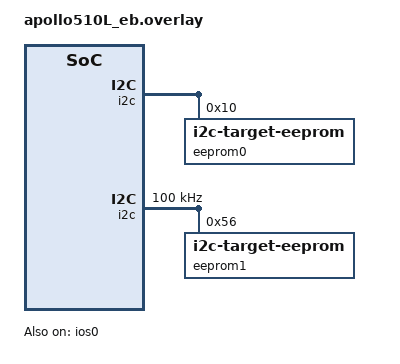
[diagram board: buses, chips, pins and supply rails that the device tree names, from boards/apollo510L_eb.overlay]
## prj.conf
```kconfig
CONFIG_LOG=y
CONFIG_I2C_LOG_LEVEL_DBG=y
CONFIG_LOG_DEFAULT_LEVEL=4
CONFIG_LOG_BACKEND_UART=y
CONFIG_NO_OPTIMIZATIONS=y
CONFIG_BOOT_BANNER=y
CONFIG_ZTEST=y
CONFIG_I2C=y
CONFIG_I2C_TARGET=y
CONFIG_I2C_EEPROM_TARGET=y
CONFIG_I2C_VIRTUAL=y
CONFIG_MAIN_STACK_SIZE=4096
CONFIG_SYSTEM_WORKQUEUE_STACK_SIZE=4096
CONFIG_ISR_STACK_SIZE=4096
```

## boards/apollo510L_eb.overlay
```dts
/* SPDX-License-Identifier: Apache-2.0 */
/* Copyright (c) 2025 Ambiq Micro Inc. */

/*
 * Apollo510L EB overlay for tests/drivers/i2c/i2c_target_api
 *
 * - IOS acts as I2C target (SCL=P0, SDA=P1)
 * - IOM5 acts as I2C master (SCL=P22, SDA=P23)
 * - Physically short SCL and SDA pairs with pull-ups.
 */

&ios0 {
	status = "okay";

	i2c {
		compatible = "ambiq,ios-i2c";
		#address-cells = <1>;
		#size-cells = <0>;
		pinctrl-0 = <&ios_i2c0_default>;
		pinctrl-1 = <&ios_i2c0_sleep>;
		pinctrl-names = "default", "sleep";
		fifo-base = <0x8>;
		fifo-threshold = <0x20>;
		status = "okay";

		eeprom0: eeprom@10 {
			compatible = "zephyr,i2c-target-eeprom";
			reg = <0x10>;
			size = <64>;
			address-width = <8>;
			status = "okay";
		};
	};

	/* Ensure SPI device on IOS is disabled when using I2C target */
	spi {
		status = "disabled";
	};
};

/* Try IOM1 as the peer I2C controller */
&iom1 {
	/* Disable SPI when using I2C */
	spi {
		status = "disabled";
	};

	i2c {
		compatible = "ambiq,i2c";
		#address-cells = <1>;
		#size-cells = <0>;
		pinctrl-0 = <&i2c1_default>;
		pinctrl-1 = <&i2c1_sleep>;
		pinctrl-names = "default", "sleep";
		clock-frequency = <I2C_BITRATE_STANDARD>;
		status = "okay";

		/* Second target for the test suite expectations */
		eeprom1: eeprom@56 {
			compatible = "zephyr,i2c-target-eeprom";
			reg = <0x56>;
			size = <64>;
			address-width = <8>;
			status = "okay";
		};
	};
};
```

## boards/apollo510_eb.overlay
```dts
/* SPDX-License-Identifier: Apache-2.0 */

/*
 * Apollo510 EB overlay for tests/drivers/i2c/i2c_target_api
 *
 * - IOS acts as I2C target (SCL=P11, SDA=P52)
 * - IOM5 acts as I2C master (SCL=P47, SDA=P48)
 * - Physically short SCL and SDA pairs with pull-ups.
 */

&ios0 {
	status = "okay";

	i2c {
		compatible = "ambiq,ios-i2c";
		#address-cells = <1>;
		#size-cells = <0>;
		pinctrl-0 = <&ios_i2c0_default>;
		pinctrl-1 = <&ios_i2c0_sleep>;
		pinctrl-names = "default", "sleep";
		fifo-threshold = <16>;
		status = "okay";

		eeprom0: eeprom@10 {
			compatible = "zephyr,i2c-target-eeprom";
			reg = <0x10>;
			size = <256>;
			address-width = <8>;
			status = "okay";
		};
	};

	/* Ensure SPI device on IOS is disabled when using I2C target */
	spi {
		status = "disabled";
	};
};

/* Use IOM5 as the peer I2C controller to access the target device */
&iom5 {
	i2c {
		compatible = "ambiq,i2c";
		#address-cells = <1>;
		#size-cells = <0>;
		pinctrl-0 = <&i2c5_default>;
		pinctrl-1 = <&i2c5_sleep>;
		pinctrl-names = "default", "sleep";
		clock-frequency = <I2C_BITRATE_STANDARD>;
		status = "okay";

		/* Second target for the test suite expectations */
		eeprom1: eeprom@56 {
			compatible = "zephyr,i2c-target-eeprom";
			reg = <0x56>;
			size = <256>;
			address-width = <8>;
			status = "okay";
		};
	};
};
```

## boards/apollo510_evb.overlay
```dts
/* SPDX-License-Identifier: Apache-2.0 */

/*
 * Apollo510 EVB overlay for tests/drivers/i2c/i2c_target_api
 *
 * - IOS acts as I2C target (SCL=P11, SDA=P52)
 * - IOM5 acts as I2C master (SCL=P47, SDA=P48)
 * - Physically short SCL and SDA pairs with pull-ups.
 */

&ios0 {
	status = "okay";

	i2c {
		compatible = "ambiq,ios-i2c";
		#address-cells = <1>;
		#size-cells = <0>;
		pinctrl-0 = <&ios_i2c0_default>;
		pinctrl-1 = <&ios_i2c0_sleep>;
		pinctrl-names = "default", "sleep";
		fifo-threshold = <16>;
		status = "okay";

		eeprom0: eeprom@54 {
			compatible = "zephyr,i2c-target-eeprom";
			reg = <0x54>;
			size = <256>;
			address-width = <8>;
			status = "okay";
		};
	};

	/* Ensure SPI device on IOS is disabled when using I2C target */
	spi {
		status = "disabled";
	};
};

/* Use IOM5 as the peer I2C controller to access the target device */
&iom5 {
	i2c {
		compatible = "ambiq,i2c";
		#address-cells = <1>;
		#size-cells = <0>;
		pinctrl-0 = <&i2c5_default>;
		pinctrl-1 = <&i2c5_sleep>;
		pinctrl-names = "default", "sleep";
		clock-frequency = <I2C_BITRATE_STANDARD>;
		status = "okay";

		/* Second target for the test suite expectations */
		eeprom1: eeprom@56 {
			compatible = "zephyr,i2c-target-eeprom";
			reg = <0x56>;
			size = <256>;
			address-width = <8>;
			status = "okay";
		};
	};
};
```

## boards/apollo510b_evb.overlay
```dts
/* SPDX-License-Identifier: Apache-2.0 */
/* Copyright (c) 2025 Ambiq Micro Inc. */

/*
 * Apollo510b EVB overlay for tests/drivers/i2c/i2c_target_api
 *
 * - IOS acts as I2C target (SCL=P0, SDA=P1)
 * - IOM0 acts as I2C master (SCL=P47, SDA=P48)
 * - Physically short SCL and SDA pairs with pull-ups.
 */

&ios0 {
	status = "okay";

	i2c {
		compatible = "ambiq,ios-i2c";
		#address-cells = <1>;
		#size-cells = <0>;
		pinctrl-0 = <&ios_i2c0_default>;
		pinctrl-1 = <&ios_i2c0_sleep>;
		pinctrl-names = "default", "sleep";
		fifo-threshold = <16>;
		status = "okay";

		eeprom0: eeprom@10 {
			compatible = "zephyr,i2c-target-eeprom";
			reg = <0x10>;
			size = <256>;
			address-width = <8>;
			status = "okay";
		};
	};

	/* Ensure SPI device on IOS is disabled when using I2C target */
	spi {
		status = "disabled";
	};
};

/* Use IOM0 as the peer I2C controller to access the target device */
&iom0 {
	i2c {
		compatible = "ambiq,i2c";
		#address-cells = <1>;
		#size-cells = <0>;
		pinctrl-0 = <&i2c0_default>;
		pinctrl-1 = <&i2c0_sleep>;
		pinctrl-names = "default", "sleep";
		clock-frequency = <I2C_BITRATE_STANDARD>;
		status = "okay";

		/* Second target for the test suite expectations */
		eeprom1: eeprom@56 {
			compatible = "zephyr,i2c-target-eeprom";
			reg = <0x56>;
			size = <256>;
			address-width = <8>;
			status = "okay";
		};
	};
};
```

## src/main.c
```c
/*
 * Copyright (c) 2017 BayLibre, SAS
 * Copyright (c) 2020 Nordic Semiconductor ASA
 *
 * SPDX-License-Identifier: Apache-2.0
 */

#include <errno.h>
#include <string.h>

#include <zephyr/kernel.h>
#include <zephyr/device.h>
#include <stdio.h>
#include <zephyr/sys/byteorder.h>
#include <zephyr/sys/util.h>

#include <zephyr/drivers/i2c.h>
#include <zephyr/drivers/i2c/target/eeprom.h>
#include <zephyr/drivers/gpio.h>

#include <zephyr/ztest.h>

#if IS_ENABLED(CONFIG_I2C_AMBIQ_IOS)
/* Test helper provided by i2c_ambiq_ios driver to peek raw LRAM */
extern int i2c_ambiq_ios_test_read_lram(const struct device *dev, uint32_t offset, uint8_t *val);
#endif

#define NODE_EP0 DT_NODELABEL(eeprom0)
#define NODE_EP1 DT_NODELABEL(eeprom1)

#define TEST_DATA_SIZE	MIN(CONFIG_I2C_TEST_DATA_MAX_SIZE, \
			    MIN(DT_PROP(NODE_EP0, size), DT_PROP(NODE_EP1, size)))

static uint8_t eeprom_0_data[TEST_DATA_SIZE];
static uint8_t eeprom_1_data[TEST_DATA_SIZE];
static uint8_t i2c_buffer[TEST_DATA_SIZE];

/*
 * We need 5x(buffer size) + 1 to print a comma-separated list of each
 * byte in hex, plus a null.
 */
uint8_t buffer_print_eeprom[TEST_DATA_SIZE * 5 + 1];
uint8_t buffer_print_i2c[TEST_DATA_SIZE * 5 + 1];

static void init_eeprom_test_data(void)
{
	size_t n;

	/*
	 * Initialize EEPROM data with printable ASCII value (range [32 126]).
	 * Make sure content differs between eeprom_0_data[] and eeprom_1_data[].
	 */
	for (n = 0; n < sizeof(eeprom_0_data); n++) {
		eeprom_0_data[n] = 32 + (n % (126 - 32));
	}

	for (n = 0; n < sizeof(eeprom_1_data); n++) {
		eeprom_1_data[n] = 32 + (((n + 10) * 3) % (126 - 32));
	}
}

static void to_display_format(const uint8_t *src, size_t size, char *dst)
{
	size_t i;

	for (i = 0; i < size; i++) {
		sprintf(dst + 5 * i, "0x%02x,", src[i]);
	}
}

#if IS_ENABLED(CONFIG_I2C_AMBIQ_IOS)
static int ambiq_ios_send_general_call(const struct device *i2c, uint8_t offset)
{
	uint8_t payload = offset;

	return i2c_write(i2c, &payload, sizeof(payload), 0x00);
}

static int ios_fifo_read(const struct device *i2c, uint8_t addr, const uint8_t *offset_buf,
			 size_t offset_len, uint8_t *rx_buf, size_t rx_len)
{
	int ret;
	uint8_t fifo_reg = 0x7F;

	if (offset_len == 1U) {
		ret = ambiq_ios_send_general_call(i2c, offset_buf[0]);
		if (ret != 0) {
			return ret;
		}
	} else if (offset_len > 1U) {
		ret = i2c_write(i2c, offset_buf, offset_len, addr);
		if (ret != 0) {
			return ret;
		}
	}

	struct i2c_msg wr_rd[2];

	wr_rd[0].buf = &fifo_reg;
	wr_rd[0].len = 1;
	wr_rd[0].flags = I2C_MSG_WRITE;
	wr_rd[1].buf = rx_buf;
	wr_rd[1].len = rx_len;
	wr_rd[1].flags = I2C_MSG_READ | I2C_MSG_RESTART | I2C_MSG_STOP;

	return i2c_transfer(i2c, wr_rd, ARRAY_SIZE(wr_rd), addr);
}
#endif

static int run_full_read(const struct device *i2c, uint8_t addr,
			 uint8_t addr_width, const uint8_t *comp_buffer)
{
	int ret;
	uint8_t start_addr[2];

	TC_PRINT("Testing full read: Master: %s, address: 0x%x\n",
		 i2c->name, addr);

	/* Read EEPROM from I2C Master requests, then compare */
	memset(start_addr, 0, sizeof(start_addr));
#if IS_ENABLED(CONFIG_I2C_AMBIQ_IOS)
	ret = ios_fifo_read(i2c, addr, start_addr, (addr_width >> 3), i2c_buffer, TEST_DATA_SIZE);
#else
	ret = i2c_write_read(i2c, addr, start_addr, (addr_width >> 3), i2c_buffer, TEST_DATA_SIZE);
#endif
	zassert_equal(ret, 0, "Failed to read EEPROM");

	if (memcmp(i2c_buffer, comp_buffer, TEST_DATA_SIZE)) {
		to_display_format(i2c_buffer, TEST_DATA_SIZE,
				  buffer_print_i2c);
		to_display_format(comp_buffer, TEST_DATA_SIZE,
				  buffer_print_eeprom);
		TC_PRINT("Error: Buffer contents are different: %s\n",
			 buffer_print_i2c);
		TC_PRINT("                         vs expected: %s\n",
			 buffer_print_eeprom);
		return -EIO;
	}

	return 0;
}

static int run_partial_read(const struct device *i2c, uint8_t addr,
			    uint8_t addr_width, const uint8_t *comp_buffer, unsigned int offset)
{
	int ret;
	uint8_t start_addr[2];

	TC_PRINT("Testing partial read. Master: %s, address: 0x%x, off=%d\n",
		 i2c->name, addr, offset);

	switch (addr_width) {
	case 8:
		start_addr[0] = (uint8_t) (offset & 0xFF);
	break;
	case 16:
		sys_put_be16((uint16_t)(offset & 0xFFFF), start_addr);
	break;
	default:
		return -EINVAL;
	}

#if IS_ENABLED(CONFIG_I2C_AMBIQ_IOS)
	ret = ios_fifo_read(i2c, addr, start_addr, (addr_width >> 3), i2c_buffer,
			    TEST_DATA_SIZE - offset);
#else
	ret = i2c_write_read(i2c, addr, start_addr, (addr_width >> 3), i2c_buffer,
			     TEST_DATA_SIZE - offset);
#endif
	zassert_equal(ret, 0, "Failed to read EEPROM");

	if (memcmp(i2c_buffer, &comp_buffer[offset], TEST_DATA_SIZE-offset)) {
		to_display_format(i2c_buffer, TEST_DATA_SIZE-offset,
				  buffer_print_i2c);
		to_display_format(&comp_buffer[offset], TEST_DATA_SIZE-offset,
				  buffer_print_eeprom);
		TC_PRINT("Error: Buffer contents are different: %s\n",
			 buffer_print_i2c);
		TC_PRINT("                         vs expected: %s\n",
			 buffer_print_eeprom);
		return -EIO;
	}

	return 0;
}

#if !defined(CONFIG_SOC_APOLLO510L)
static int run_program_read(const struct device *i2c, uint8_t addr, uint8_t addr_width,
#if IS_ENABLED(CONFIG_I2C_AMBIQ_IOS)
			    unsigned int offset, const struct device *ios_dev)
#else
			    unsigned int offset)
#endif
{
	int ret, i;
	uint8_t start_addr[2];
	struct i2c_msg msg[2];

	TC_PRINT("Testing program. Master: %s, address: 0x%x, off=%d\n",
		i2c->name, addr, offset);

	for (i = 0 ; i < TEST_DATA_SIZE-offset ; ++i) {
		i2c_buffer[i] = i & 0xFF;
	}

	switch (addr_width) {
	case 8:
		start_addr[0] = (uint8_t) (offset & 0xFF);
	break;
	case 16:
		sys_put_be16((uint16_t)(offset & 0xFFFF), start_addr);
	break;
	default:
		return -EINVAL;
	}

	msg[0].buf = start_addr;
	msg[0].len = (addr_width >> 3);
	msg[0].flags = I2C_MSG_WRITE;
	msg[1].buf = &i2c_buffer[0];
	msg[1].len = TEST_DATA_SIZE;
	msg[1].flags = I2C_MSG_WRITE | I2C_MSG_STOP;

	ret = i2c_transfer(i2c, &msg[0], 2, addr);
	zassert_equal(ret, 0, "Failed to write EEPROM");

#if IS_ENABLED(CONFIG_I2C_AMBIQ_IOS)
	if (ios_dev) {
		size_t lram_len = TEST_DATA_SIZE - offset;
		size_t i;

		k_msleep(1);

		for (i = 0; i < lram_len; i++) {
			uint8_t v = 0;

			ret = i2c_ambiq_ios_test_read_lram(ios_dev, offset + i, &v);
			zassert_equal(ret, 0, "LRAM payload read failed");
			if (v != (i & 0xFF)) {
				TC_PRINT("Error: Unexpected %zu (%02x) LRAM content (expected "
					 "%02x)\n",
					 i, v, i & 0xFF);
				return -EIO;
			}
		}
		return 0;
	}
#endif

	(void)memset(i2c_buffer, 0xFF, TEST_DATA_SIZE);

	/* Read back EEPROM from I2C Master requests, then compare */
#if IS_ENABLED(CONFIG_I2C_AMBIQ_IOS)
	ret = ios_fifo_read(i2c, addr, start_addr, (addr_width >> 3), i2c_buffer,
			    TEST_DATA_SIZE - offset);
#else
	ret = i2c_write_read(i2c, addr, start_addr, (addr_width >> 3), i2c_buffer,
			     TEST_DATA_SIZE - offset);
#endif
	zassert_equal(ret, 0, "Failed to read EEPROM");

	for (i = 0 ; i < TEST_DATA_SIZE-offset ; ++i) {
		if (i2c_buffer[i] != (i & 0xFF)) {
			to_display_format(i2c_buffer, TEST_DATA_SIZE-offset,
					  buffer_print_i2c);
			TC_PRINT("Error: Unexpected %u (%02x) buffer content: %s\n",
				 i, i2c_buffer[i], buffer_print_i2c);
			return -EIO;
		}
	}

	return 0;
}
#endif /* !CONFIG_SOC_APOLLO510L */

ZTEST(i2c_eeprom_target, test_deinit)
{
	const struct device *const i2c_0 = DEVICE_DT_GET(DT_BUS(NODE_EP0));
	const struct device *const i2c_1 = DEVICE_DT_GET(DT_BUS(NODE_EP1));
	const struct gpio_dt_spec sda_pin_0 =
		GPIO_DT_SPEC_GET_OR(DT_PATH(zephyr_user), sda0_gpios, {});
	const struct gpio_dt_spec scl_pin_0 =
		GPIO_DT_SPEC_GET_OR(DT_PATH(zephyr_user), scl0_gpios, {});
	const struct gpio_dt_spec sda_pin_1 =
		GPIO_DT_SPEC_GET_OR(DT_PATH(zephyr_user), sda1_gpios, {});
	const struct gpio_dt_spec scl_pin_1 =
		GPIO_DT_SPEC_GET_OR(DT_PATH(zephyr_user), scl1_gpios, {});
	int ret;

	if (i2c_0 == i2c_1) {
		TC_PRINT("  gpio loopback required for test\n");
		ztest_test_skip();
	}

	if (scl_pin_0.port == NULL || sda_pin_0.port == NULL ||
	    scl_pin_1.port == NULL || sda_pin_1.port == NULL) {
		TC_PRINT("  bus gpios not specified in zephyr,path\n");
		ztest_test_skip();
	}

	ret = device_deinit(i2c_0);
	if (ret == -ENOTSUP) {
		TC_PRINT("  device deinit not supported\n");
		ztest_test_skip();
	}

	zassert_ok(ret);

	ret = device_deinit(i2c_1);
	if (ret == -ENOTSUP) {
		TC_PRINT("  device deinit not supported\n");
		zassert_ok(device_init(i2c_0));
		ztest_test_skip();
	}

	zassert_ok(gpio_pin_configure_dt(&sda_pin_0, GPIO_INPUT));
	zassert_ok(gpio_pin_configure_dt(&sda_pin_1, GPIO_OUTPUT_INACTIVE));
	zassert_ok(gpio_pin_configure_dt(&scl_pin_0, GPIO_INPUT));
	zassert_ok(gpio_pin_configure_dt(&scl_pin_1, GPIO_OUTPUT_INACTIVE));
	zassert_equal(gpio_pin_get_dt(&sda_pin_0), 0);
	zassert_equal(gpio_pin_get_dt(&scl_pin_0), 0);
	zassert_ok(gpio_pin_set_dt(&sda_pin_1, 1));
	zassert_ok(gpio_pin_set_dt(&scl_pin_1, 1));
	zassert_equal(gpio_pin_get_dt(&sda_pin_0), 1);
	zassert_equal(gpio_pin_get_dt(&scl_pin_0), 1);
	zassert_ok(gpio_pin_configure_dt(&sda_pin_1, GPIO_INPUT));
	zassert_ok(gpio_pin_configure_dt(&scl_pin_1, GPIO_INPUT));
	zassert_ok(device_init(i2c_0));
	zassert_ok(device_init(i2c_1));
}

ZTEST(i2c_eeprom_target, test_eeprom_target)
{
	const struct device *const eeprom_0 = DEVICE_DT_GET(NODE_EP0);
	const struct device *const i2c_0 = DEVICE_DT_GET(DT_BUS(NODE_EP0));
	int addr_0 = DT_REG_ADDR(NODE_EP0);
	uint8_t addr_0_width = DT_PROP_OR(NODE_EP0, address_width, 8);
	const struct device *const eeprom_1 = DEVICE_DT_GET(NODE_EP1);
	const struct device *const i2c_1 = DEVICE_DT_GET(DT_BUS(NODE_EP1));
	int addr_1 = DT_REG_ADDR(NODE_EP1);
	uint8_t addr_1_width = DT_PROP_OR(NODE_EP1, address_width, 8);
	int ret, offset;

	init_eeprom_test_data();

	zassert_not_null(i2c_0, "EEPROM 0 - I2C bus not found");
	zassert_not_null(eeprom_0, "EEPROM 0 device not found");

	zassert_true(device_is_ready(i2c_0), "EEPROM 0 - I2C bus not ready");

	TC_PRINT("Found EEPROM 0 on I2C bus device %s at addr %02x\n",
		 i2c_0->name, addr_0);

	zassert_not_null(i2c_1, "EEPROM 1 - I2C device not found");
	zassert_not_null(eeprom_1, "EEPROM 1 device not found");

	zassert_true(device_is_ready(i2c_1), "EEPROM 1 - I2C bus not ready");

	TC_PRINT("Found EEPROM 1 on I2C bus device %s at addr %02x\n",
		 i2c_1->name, addr_1);

	if (IS_ENABLED(CONFIG_APP_DUAL_ROLE_I2C)) {
		TC_PRINT("Testing dual-role\n");
	} else {
		TC_PRINT("Testing single-role\n");
	}

	/* Program differentiable data into the two devices through a back door
	 * that doesn't use I2C.
	 */
	ret = eeprom_target_program(eeprom_0, eeprom_0_data, TEST_DATA_SIZE);
	zassert_equal(ret, 0, "Failed to program EEPROM 0");
	if (IS_ENABLED(CONFIG_APP_DUAL_ROLE_I2C)) {
		ret = eeprom_target_program(eeprom_1, eeprom_1_data,
					   TEST_DATA_SIZE);
		zassert_equal(ret, 0, "Failed to program EEPROM 1");
	}

	/* Attach each EEPROM to its owning bus as a target device. */
	ret = i2c_target_driver_register(eeprom_0);
	zassert_equal(ret, 0, "Failed to register EEPROM 0");

	if (IS_ENABLED(CONFIG_APP_DUAL_ROLE_I2C)) {
		ret = i2c_target_driver_register(eeprom_1);
		zassert_equal(ret, 0, "Failed to register EEPROM 1");
	}

	/* The simulated EP0 is configured to be accessed as a target device
	 * at addr_0 on i2c_0 and should expose eeprom_0_data.  The validation
	 * uses i2c_1 as a bus master to access this device, which works because
	 * i2c_0 and i2_c have their SDA (SCL) pins shorted (they are on the
	 * same physical bus).  Thus in these calls i2c_1 is a master device
	 * operating on the target address addr_0.
	 *
	 * Similarly validation of EP1 uses i2c_0 as a master with addr_1 and
	 * eeprom_1_data for validation.
	 */
	ret = run_full_read(i2c_1, addr_0, addr_0_width, eeprom_0_data);
	zassert_equal(ret, 0,
		     "Full I2C read from EP0 failed");
	if (IS_ENABLED(CONFIG_APP_DUAL_ROLE_I2C)) {
		ret = run_full_read(i2c_0, addr_1, addr_1_width, eeprom_1_data);
		zassert_equal(ret, 0,
			      "Full I2C read from EP1 failed");
	}

	for (offset = 0 ; offset < TEST_DATA_SIZE-1 ; ++offset) {
		zassert_equal(0, run_partial_read(i2c_1, addr_0,
			      addr_0_width, eeprom_0_data, offset),
			      "Partial I2C read EP0 failed");
		if (IS_ENABLED(CONFIG_APP_DUAL_ROLE_I2C)) {
			zassert_equal(0, run_partial_read(i2c_0, addr_1,
							  addr_1_width,
							  eeprom_1_data,
							  offset),
				      "Partial I2C read EP1 failed");
		}
	}

	/* Skip program/readback loop on apollo510L due to HW erratum */
#if !defined(CONFIG_SOC_APOLLO510L)
	for (offset = 0; offset < TEST_DATA_SIZE - 1; ++offset) {
#if IS_ENABLED(CONFIG_I2C_AMBIQ_IOS)
		zassert_equal(0, run_program_read(i2c_1, addr_0,
							  addr_0_width, offset, i2c_0),
			      "Program I2C read EP0 failed");
		if (IS_ENABLED(CONFIG_APP_DUAL_ROLE_I2C)) {
			zassert_equal(0, run_program_read(i2c_0, addr_1,
							  addr_1_width, offset, i2c_1),
				      "Program I2C read EP1 failed");
		}
#else
		zassert_equal(0, run_program_read(i2c_1, addr_0,
							  addr_0_width, offset),
			      "Program I2C read EP0 failed");
		if (IS_ENABLED(CONFIG_APP_DUAL_ROLE_I2C)) {
			zassert_equal(0, run_program_read(i2c_0, addr_1,
							  addr_1_width, offset),
				      "Program I2C read EP1 failed");
		}
#endif
	}
#endif

	/* Detach EEPROM */
	ret = i2c_target_driver_unregister(eeprom_0);
	zassert_equal(ret, 0, "Failed to unregister EEPROM 0");

	if (IS_ENABLED(CONFIG_APP_DUAL_ROLE_I2C)) {
		ret = i2c_target_driver_unregister(eeprom_1);
		zassert_equal(ret, 0, "Failed to unregister EEPROM 1");
	}
}

ZTEST_SUITE(i2c_eeprom_target, NULL, NULL, NULL, NULL, NULL);
```
